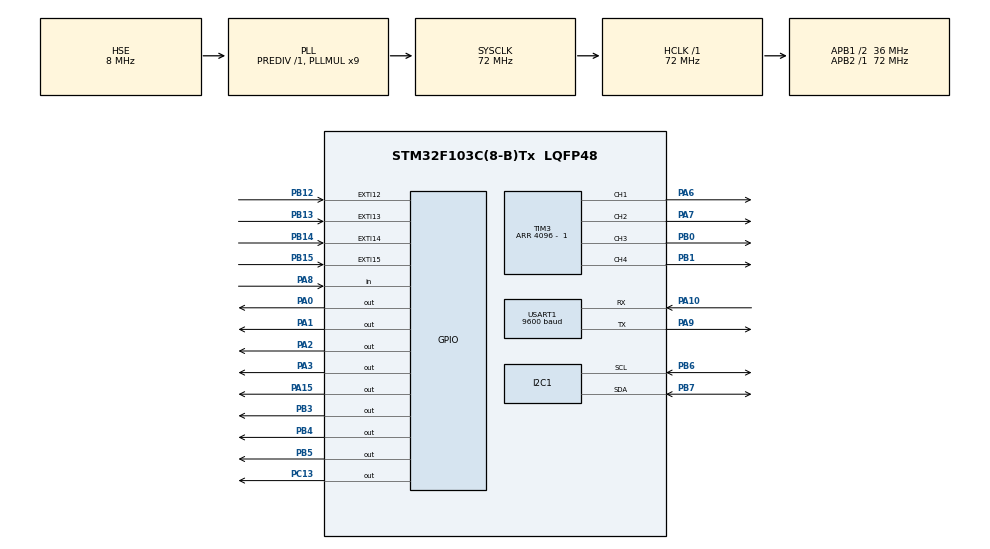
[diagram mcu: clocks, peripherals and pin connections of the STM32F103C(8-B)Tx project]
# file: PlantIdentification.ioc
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Mcu.Family=STM32F1
Mcu.Name=STM32F103C(8-B)Tx
Mcu.Package=LQFP48
NVIC.EXTI15_10_IRQn=true\:0\:0\:true\:true\:true\:1\:true\:true\:true
NVIC.PriorityGroup=NVIC_PRIORITYGROUP_4
NVIC.TIM2_IRQn=true\:0\:0\:false\:true\:true\:3\:true\:true\:true
NVIC.TIM4_IRQn=true\:0\:0\:false\:true\:true\:2\:true\:true\:true
PA0-WKUP.Signal=GPIO_Output
PA1.Signal=GPIO_Output
PA10.Mode=Asynchronous
PA10.Signal=USART1_RX
PA13.Mode=Serial_Wire
PA13.Signal=SYS_JTMS-SWDIO
PA14.Mode=Serial_Wire
PA14.Signal=SYS_JTCK-SWCLK
PA15.Signal=GPIO_Output
PA2.Signal=GPIO_Output
PA3.Signal=GPIO_Output
PA6.Signal=S_TIM3_CH1
PA7.Signal=S_TIM3_CH2
PA8.GPIO_PuPd=GPIO_PULLDOWN
PA8.Signal=GPIO_Input
PA9.Mode=Asynchronous
PA9.Signal=USART1_TX
PB0.Signal=S_TIM3_CH3
PB1.Signal=S_TIM3_CH4
PB12.GPIO_ModeDefaultEXTI=GPIO_MODE_IT_RISING
PB12.GPIO_PuPd=GPIO_PULLDOWN
PB12.Signal=GPXTI12
PB13.GPIO_ModeDefaultEXTI=GPIO_MODE_IT_RISING
PB13.GPIO_PuPd=GPIO_PULLDOWN
PB13.Signal=GPXTI13
PB14.GPIO_ModeDefaultEXTI=GPIO_MODE_IT_RISING
PB14.GPIO_PuPd=GPIO_PULLDOWN
PB14.Signal=GPXTI14
PB15.GPIO_ModeDefaultEXTI=GPIO_MODE_IT_RISING
PB15.GPIO_PuPd=GPIO_PULLDOWN
PB15.Signal=GPXTI15
PB3.Signal=GPIO_Output
PB4.Signal=GPIO_Output
PB5.Signal=GPIO_Output
PB6.Mode=I2C
PB6.Signal=I2C1_SCL
PB7.Mode=I2C
PB7.Signal=I2C1_SDA
PC13-TAMPER-RTC.Signal=GPIO_Output
PC14-OSC32_IN.Mode=LSE-External-Oscillator
PC14-OSC32_IN.Signal=RCC_OSC32_IN
PC15-OSC32_OUT.Mode=LSE-External-Oscillator
PC15-OSC32_OUT.Signal=RCC_OSC32_OUT
PD0-OSC_IN.Mode=HSE-External-Oscillator
PD0-OSC_IN.Signal=RCC_OSC_IN
PD1-OSC_OUT.Mode=HSE-External-Oscillator
PD1-OSC_OUT.Signal=RCC_OSC_OUT
ProjectManager.HeapSize=0x200
ProjectManager.StackSize=0x400
ProjectManager.TargetToolchain=STM32CubeIDE
RCC.AHBFreq_Value=72000000
RCC.APB1CLKDivider=RCC_HCLK_DIV2
RCC.APB1Freq_Value=36000000
RCC.APB1TimFreq_Value=72000000
RCC.APB2Freq_Value=72000000
RCC.APB2TimFreq_Value=72000000
RCC.HCLKFreq_Value=72000000
RCC.PLLMUL=RCC_PLL_MUL9
RCC.PLLSourceVirtual=RCC_PLLSOURCE_HSE
RCC.SYSCLKFreq_VALUE=72000000
RCC.SYSCLKSource=RCC_SYSCLKSOURCE_PLLCLK
RCC.USBFreq_Value=72000000
SH.S_TIM3_CH1.0=TIM3_CH1,PWM Generation1 CH1
SH.S_TIM3_CH2.0=TIM3_CH2,PWM Generation2 CH2
SH.S_TIM3_CH3.0=TIM3_CH3,PWM Generation3 CH3
SH.S_TIM3_CH4.0=TIM3_CH4,PWM Generation4 CH4
TIM2.Period=2500 - 1
TIM2.Prescaler=7200 - 1
TIM3.Channel-PWM\ Generation1\ CH1=TIM_CHANNEL_1
TIM3.Channel-PWM\ Generation2\ CH2=TIM_CHANNEL_2
TIM3.Channel-PWM\ Generation3\ CH3=TIM_CHANNEL_3
TIM3.Channel-PWM\ Generation4\ CH4=TIM_CHANNEL_4
TIM3.Period=4096 -  1
TIM4.Period=100-1
TIM4.Prescaler=7200 - 1
USART1.BaudRate=9600
USART1.VirtualMode=VM_ASYNC
VP_TIM1_VS_ClockSourceINT.Mode=Internal
VP_TIM2_VS_ClockSourceINT.Mode=Internal
VP_TIM4_VS_ClockSourceINT.Mode=Internal
board=custom

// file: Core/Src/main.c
/* USER CODE BEGIN Header */
/**
  ******************************************************************************
  * @file           : main.c
  * @brief          : Main program body
  ******************************************************************************
  * @attention
  *
  * Copyright (c) 2023 STMicroelectronics.
  * All rights reserved.
  *
  * This software is licensed under terms that can be found in the LICENSE file
  * in the root directory of this software component.
  * If no LICENSE file comes with this software, it is provided AS-IS.
  *
  ******************************************************************************
  */
/* USER CODE END Header */
#include "main.h"

/* USER CODE BEGIN Includes */
#include "Directions.h"
#include "stdio.h"
/* USER CODE END Includes */

I2C_HandleTypeDef hi2c1;

TIM_HandleTypeDef htim1;
TIM_HandleTypeDef htim2;
TIM_HandleTypeDef htim3;
TIM_HandleTypeDef htim4;

UART_HandleTypeDef huart1;

/* USER CODE BEGIN PV */

/* IMU Adresses */
uint8_t IMU_ADDRESS = 0b11010000; //0xD0
uint8_t MAG_ADDRESS = 0x1A;

/* Variables de IMU6050 Acelerometro */
uint8_t accel_raw_data[6];

float accel_x;
float accel_y;
float accel_z;

/* Variables de IMU6050 Giroscopio */

uint8_t gyro_raw_data[6];

float gyro_x;
float gyro_y;
float gyro_z;

float GyroMean[5] = {};
float gyro_mean;

float GyroValuesx = 0;
float GyroValuesy = 0;
float GyroValuesz = 0;

float Gyro_X_calibration = 0;
float Gyro_Y_calibration = 0;
float Gyro_Z_calibration = 0;

/*Angulos*/
float yawangle = 0;
float yawangle_new;
float prev_yaw = 0;
float yaw_reference = -90;
float filteredYaw;

uint8_t state = 0;

volatile uint8_t pulses_rf, pulses_lf, pulses_rb, pulses_lb;

float pulsesperturn = 20;

float rpm_rf, rpm_lf, rpm_rb, rpm_lb;

float current_tick_rf, current_tick_lf, current_tick_rb, current_tick_lb;

float pid_output_lf, pid_output_rf, pid_output_lb, pid_output_rb;

float pwm_rf,pwm_lf, pwm_rb, pwm_lb;

float distance_rf,distance_lf,distance_rb,distance_lb, distance_average;

float samplingTime = 250;

/*Array For Commands*/
char Commands[3];

/*Transmission array*/
char rpmdata[200] = {0};

/* Magnetometer variables*/
uint8_t array[2]={0x01, 0x1D};
uint8_t array2[6];
int16_t MagX,MagY,MagZ;
float YawMag, angulo2;
float x_center =  2624.1;/* Valor de x_center de MATLAB */;
float y_center = 2561.8/* Valor de y_center de MATLAB */;
float z_center = 210.8500/* Valor de z_center de MATLAB */;
float radio_promedio = 153.39167/* Valor del radio promedio calculado en MATLAB */;
float x_norm, y_norm, z_norm;
float distancia;

// Variables para almacenar los máximos y mínimos de la calibración
char datos[20];

uint8_t count = 0;
uint32_t time_counter = 1;

char DataTransmit[100];

uint8_t vel = 0;

/* USER CODE END PV */

void SystemClock_Config(void);
static void MX_GPIO_Init(void);
static void MX_I2C1_Init(void);
static void MX_TIM3_Init(void);
static void MX_USART1_UART_Init(void);
static void MX_TIM4_Init(void);
static void MX_TIM2_Init(void);
static void MX_TIM1_Init(void);
static void MX_NVIC_Init(void);

/* USER CODE BEGIN 0 */
void MPU_init(void){
	/*IMU 60050 configuration*/
	uint8_t check, data;

	/*WHO_AM_I register, returns 0x58 if connected*/
	HAL_I2C_Mem_Read(&hi2c1, IMU_ADDRESS, 0x75, 1, &check, 1, 100);

	if(check == 104){
		/*PWR_MGMT_1 register. Write 0 for normal use*/
		data = 0;
		HAL_I2C_Mem_Write(&hi2c1, IMU_ADDRESS, 0x6B, 1, &data, 1, 100);

		/*SMPRT_DIV register*/
		data = 0x07;
		HAL_I2C_Mem_Write(&hi2c1, IMU_ADDRESS, 0x19, 1, &data, 1, 100);

		/*Acceleration Register configuration*/
		HAL_I2C_Mem_Read(&hi2c1, IMU_ADDRESS, 0x1C, 1, &data, 1, 100);

		uint8_t precission_selector = 0;
		/*
		 * 0 for +- 2g
		 * 1 for +- 4g
		 * 2 for +- 8g
		 * 3 for +- 16g
		 */
		data = (data & ~(0b11<<3));
		data = (data | (precission_selector << 3));

		HAL_I2C_Mem_Write(&hi2c1, IMU_ADDRESS, 0x1C, 1, &data, 1, 100);

		/*Gyro Register configuration*/
		HAL_I2C_Mem_Read(&hi2c1, IMU_ADDRESS, 0x1B, 1, &data, 1, 100);

		uint8_t precission_selector_gyro = 0;
		/*
		 * 0 for +- 250 deg/s
		 * 1 for +- 500 deg/s
		 * 2 for +- 1000 deg/s
		 * 3 for +- 2000 deg/s
		 */
		data = (data & ~(0b11<<3));
		data = (data | (precission_selector_gyro << 3));

		HAL_I2C_Mem_Write(&hi2c1, IMU_ADDRESS, 0x1B, 1,&data, 1, 100);

	}

}

void MPU_Read_accel(void){

	/*
	 * 0x3B ACCEL_XOUT_H
	 * 0x3C ACCEL_XOUT_L
	 * 0x3D ACCEL_YOUT_H
	 * 0x3E ACCEL_YOUT_L
	 * 0x3F ACCEL_ZOUT_H
	 * 0x40 ACCEL_ZOUT_L
	 * */

	/*Read registers in order*/
	HAL_I2C_Mem_Read(&hi2c1, IMU_ADDRESS, 0x3B, 1, accel_raw_data, 6, 1000);

	/*Precission value in g's
	 * change if value in MPU_init changes
	 * 2
	 * 4
	 * 8
	 * 16
	 * */
	 float g_precission = 2;

	 accel_x = (float)(((int16_t)(accel_raw_data[0] << 8 | accel_raw_data[1])) * g_precission/32768);
	 accel_y = (float)(((int16_t)(accel_raw_data[2] << 8 | accel_raw_data[3])) * g_precission/32768);
	 accel_z = (float)(((int16_t)(accel_raw_data[4] << 8 | accel_raw_data[5])) * g_precission/32768);

	 /*Conversion from g's to m/s^2*/
	 accel_x = accel_x * 9.81;
	 accel_y = accel_y * 9.81;
	 accel_z = accel_z * 9.81;
	}

void MPU_Read_gyro(void){

	/*
	 * 0x43 ACCEL_XOUT_H
	 * 0x44 ACCEL_XOUT_L
	 * 0x45 ACCEL_YOUT_H
	 * 0x46 ACCEL_YOUT_L
	 * 0x47 ACCEL_ZOUT_H
	 * 0x48 ACCEL_ZOUT_L
	 * */

	if(count < 5){

		/*Read registers in order*/
		HAL_I2C_Mem_Read(&hi2c1, IMU_ADDRESS, 0x43, 1, gyro_raw_data, 6, 1000);

		/*Precission value in degs/s
		 * change if value in MPU_init changes
		 * 250
		 * 500
		 * 1000
		 * 2000
		 * */
		float gyro_Precission = 250;

		 gyro_x = (float)(((int16_t)(gyro_raw_data[0] << 8 | gyro_raw_data[1])) * gyro_Precission/32768);
		 gyro_y = (float)(((int16_t)(gyro_raw_data[2] << 8 | gyro_raw_data[3])) * gyro_Precission/32768);
		 gyro_z = (float)(((int16_t)(gyro_raw_data[4] << 8 | gyro_raw_data[5])) * gyro_Precission/32768);

		 /*Gyro values adjusted with calibration values*/
		 gyro_x += Gyro_X_calibration;
		 gyro_y += Gyro_Y_calibration;
		 gyro_z += Gyro_Z_calibration;

		 GyroMean[count] = gyro_z;
		 count++;
	}

	if(count == 5){
		/*Moving average of 5*/
		gyro_mean = (GyroMean[0]+GyroMean[1]+GyroMean[2]+GyroMean[3]+GyroMean[4])/5;
		count = 0;
	}
}

void Gyro_calibration(void){

	uint16_t counter = 0;
	uint32_t StartTime_cal = HAL_GetTick();
	uint32_t ElapsedTime_cal = 0;

	/*Calibrate value for 9 seconds*/
	while(ElapsedTime_cal < 9000){

		MPU_Read_gyro();
		GyroValuesx += gyro_x;
		GyroValuesy += gyro_y;
		GyroValuesz += gyro_z;

		counter++;

		uint32_t CurrentTime_cal = HAL_GetTick();
		ElapsedTime_cal = CurrentTime_cal - StartTime_cal;
	}

	/*Calibration values, average of gyros values*/
	Gyro_X_calibration = -1 * GyroValuesx/counter;
	Gyro_Y_calibration = -1 * GyroValuesy/counter;
	Gyro_Z_calibration = -1 * GyroValuesz/counter;

}

void MPU_GetYaw(uint8_t elapsed){
	uint8_t alfa = 0.98;

	yawangle_new = prev_yaw + gyro_z * elapsed/1000;

	yawangle = (1-alfa) * prev_yaw + (alfa) * yawangle_new;

	prev_yaw = yawangle_new;

	if(yawangle <= -360){
		yawangle = 0;
	}
	if(yawangle > 360){
		yawangle = 0;
	}
	if(prev_yaw <= -360){
		prev_yaw = 0;
	}
	if(prev_yaw > 360){
		prev_yaw = 0;
	}
	if(yawangle_new <= -360){
		yawangle_new = 0;
	}
	if(yawangle_new > 360){
		yawangle_new = 0;
	}

	//filteredYaw = alfa*(filteredYaw + gyro_z * elapsed/1000) + (1-alfa)*YawMag;
}
/* USER CODE END 0 */

int main(void)
{

  /* MCU Configuration--------------------------------------------------------*/

  /* Reset of all peripherals, Initializes the Flash interface and the Systick. */
  HAL_Init();

  /* Configure the system clock */
  SystemClock_Config();

  /* Initialize all configured peripherals */
  MX_GPIO_Init();
  MX_I2C1_Init();
  MX_TIM3_Init();
  MX_USART1_UART_Init();
  MX_TIM4_Init();
  MX_TIM2_Init();
  MX_TIM1_Init();

  /* Initialize interrupts */
  MX_NVIC_Init();
  /* USER CODE BEGIN 2 */

  HAL_StatusTypeDef ret = HAL_I2C_IsDeviceReady(&hi2c1, IMU_ADDRESS, 10, 100);
    /*Check if QMC5883 is connected*/
    HAL_StatusTypeDef ready = HAL_I2C_IsDeviceReady(&hi2c1, MAG_ADDRESS, 10, 1000);

    if(ret == HAL_OK /*&& ready == HAL_OK*/){
  	  HAL_GPIO_WritePin(GPIOC, GPIO_PIN_13, 0);
  	  char transmission_buffer[17];
  	  uint8_t transmission_size = sprintf(transmission_buffer,"Device connected \n");

  	  HAL_UART_Transmit(&huart1,&transmission_buffer,transmission_size, 500);
    }
    else{
  	  HAL_GPIO_WritePin(GPIOC, GPIO_PIN_13, 1);
    }

    MPU_init();

    Gyro_calibration();

  HAL_TIM_Base_Start_IT(&htim4);
  HAL_TIM_Base_Start_IT(&htim2);
  HAL_TIM_PWM_Start(&htim3, TIM_CHANNEL_1);
  HAL_TIM_PWM_Start(&htim3, TIM_CHANNEL_2);
  HAL_TIM_PWM_Start(&htim3, TIM_CHANNEL_3);
  HAL_TIM_PWM_Start(&htim3, TIM_CHANNEL_4);

  uint32_t millis, elapsedTime, millis2;

  /* USER CODE END 2 */

  /* Infinite loop */
  while (1)
  {

    /* USER CODE BEGIN 3 */

	  HAL_UART_Receive(&huart1, &Commands, 3, 100);

	  if(state == 1){
		  if(elapsedTime > 2000){

			  Forward();
			  //RightTurn();
			  pwm_lf = 3000;
			  pwm_lb = 3000;
			  pwm_rb = 3000;
			  pwm_rf = 3000;

			  __HAL_TIM_SET_COMPARE(&htim3, TIM_CHANNEL_1, pwm_lf);
			  __HAL_TIM_SET_COMPARE(&htim3, TIM_CHANNEL_2, pwm_rf);
			  __HAL_TIM_SET_COMPARE(&htim3, TIM_CHANNEL_3, pwm_lb);
			  __HAL_TIM_SET_COMPARE(&htim3, TIM_CHANNEL_4, pwm_rb);

			  vel = 1;
		  }
		  if(elapsedTime > 4000 && elapsedTime < 23000){
			  Forward();
			  //RightTurn();
			  pwm_lf = 4095;
			  pwm_lb = 4095;
			  pwm_rb = 4095;
			  pwm_rf = 4095;

			  __HAL_TIM_SET_COMPARE(&htim3, TIM_CHANNEL_1, pwm_lf);
			  __HAL_TIM_SET_COMPARE(&htim3, TIM_CHANNEL_2, pwm_rf);
			  __HAL_TIM_SET_COMPARE(&htim3, TIM_CHANNEL_3, pwm_lb);
			  __HAL_TIM_SET_COMPARE(&htim3, TIM_CHANNEL_4, pwm_rb);

			  vel = 2;
		  }
/*
		  if(elapsedTime > 10000 && elapsedTime < 14000){
			  LeftTurn();
			  pwm_lf = 3800;
			  pwm_lb = 3800;
			  pwm_rb = 3800;
			  pwm_rf = 3800;

			  __HAL_TIM_SET_COMPARE(&htim3, TIM_CHANNEL_1, pwm_lf);
			  __HAL_TIM_SET_COMPARE(&htim3, TIM_CHANNEL_2, pwm_rf);
			  __HAL_TIM_SET_COMPARE(&htim3, TIM_CHANNEL_3, pwm_lb);
			  __HAL_TIM_SET_COMPARE(&htim3, TIM_CHANNEL_4, pwm_rb);

			  vel = 3;
		  }
*/

	  }

	  millis2 = HAL_GetTick();
	  elapsedTime = millis2 - millis;

	  if(state == 0){
		  if(Commands[0] == 'S'){
			  millis = HAL_GetTick();
			  elapsedTime = 0;
			  state++;
		  }
	  }

	  if(Commands[0] == 'E'){
		  state = 0;

		  pwm_rf = 0;
		  pwm_lf = 0;
		  pwm_rb = 0;
		  pwm_lb = 0;
		  Stop();
	  }

		uint8_t DataBuf = sprintf(DataTransmit,"%u,%.2f,%.2f,%.2f,%.2f,%.2f,%.2f,%.2f,%.2f,%.2f\n",vel,pwm_lf,rpm_lf,pwm_rf,rpm_rf,pwm_lb,rpm_lb,pwm_rb,rpm_rb,yawangle);
		HAL_UART_Transmit(&huart1, &DataTransmit, DataBuf, 100);

  }
  /* USER CODE END 3 */
}

void SystemClock_Config(void)
{
  RCC_OscInitTypeDef RCC_OscInitStruct = {0};
  RCC_ClkInitTypeDef RCC_ClkInitStruct = {0};

  /** Initializes the RCC Oscillators according to the specified parameters
  * in the RCC_OscInitTypeDef structure.
  */
  RCC_OscInitStruct.OscillatorType = RCC_OSCILLATORTYPE_HSE;
  RCC_OscInitStruct.HSEState = RCC_HSE_ON;
  RCC_OscInitStruct.HSEPredivValue = RCC_HSE_PREDIV_DIV1;
  RCC_OscInitStruct.HSIState = RCC_HSI_ON;
  RCC_OscInitStruct.PLL.PLLState = RCC_PLL_ON;
  RCC_OscInitStruct.PLL.PLLSource = RCC_PLLSOURCE_HSE;
  RCC_OscInitStruct.PLL.PLLMUL = RCC_PLL_MUL9;
  if (HAL_RCC_OscConfig(&RCC_OscInitStruct) != HAL_OK)
  {
    Error_Handler();
  }

  /** Initializes the CPU, AHB and APB buses clocks
  */
  RCC_ClkInitStruct.ClockType = RCC_CLOCKTYPE_HCLK|RCC_CLOCKTYPE_SYSCLK
                              |RCC_CLOCKTYPE_PCLK1|RCC_CLOCKTYPE_PCLK2;
  RCC_ClkInitStruct.SYSCLKSource = RCC_SYSCLKSOURCE_PLLCLK;
  RCC_ClkInitStruct.AHBCLKDivider = RCC_SYSCLK_DIV1;
  RCC_ClkInitStruct.APB1CLKDivider = RCC_HCLK_DIV2;
  RCC_ClkInitStruct.APB2CLKDivider = RCC_HCLK_DIV1;

  if (HAL_RCC_ClockConfig(&RCC_ClkInitStruct, FLASH_LATENCY_2) != HAL_OK)
  {
    Error_Handler();
  }
}

/**
  * @brief NVIC Configuration.
  * @retval None
  */
static void MX_NVIC_Init(void)
{
  /* EXTI15_10_IRQn interrupt configuration */
  HAL_NVIC_SetPriority(EXTI15_10_IRQn, 0, 0);
  HAL_NVIC_EnableIRQ(EXTI15_10_IRQn);
  /* TIM4_IRQn interrupt configuration */
  HAL_NVIC_SetPriority(TIM4_IRQn, 0, 0);
  HAL_NVIC_EnableIRQ(TIM4_IRQn);
  /* TIM2_IRQn interrupt configuration */
  HAL_NVIC_SetPriority(TIM2_IRQn, 0, 0);
  HAL_NVIC_EnableIRQ(TIM2_IRQn);
}

static void MX_I2C1_Init(void)
{

  hi2c1.Instance = I2C1;
  hi2c1.Init.ClockSpeed = 100000;
  hi2c1.Init.DutyCycle = I2C_DUTYCYCLE_2;
  hi2c1.Init.OwnAddress1 = 0;
  hi2c1.Init.AddressingMode = I2C_ADDRESSINGMODE_7BIT;
  hi2c1.Init.DualAddressMode = I2C_DUALADDRESS_DISABLE;
  hi2c1.Init.OwnAddress2 = 0;
  hi2c1.Init.GeneralCallMode = I2C_GENERALCALL_DISABLE;
  hi2c1.Init.NoStretchMode = I2C_NOSTRETCH_DISABLE;
  if (HAL_I2C_Init(&hi2c1) != HAL_OK)
  {
    Error_Handler();
  }

}

static void MX_TIM1_Init(void)
{

  TIM_ClockConfigTypeDef sClockSourceConfig = {0};
  TIM_MasterConfigTypeDef sMasterConfig = {0};

  htim1.Instance = TIM1;
  htim1.Init.Prescaler = 0;
  htim1.Init.CounterMode = TIM_COUNTERMODE_UP;
  htim1.Init.Period = 65535;
  htim1.Init.ClockDivision = TIM_CLOCKDIVISION_DIV1;
  htim1.Init.RepetitionCounter = 0;
  htim1.Init.AutoReloadPreload = TIM_AUTORELOAD_PRELOAD_DISABLE;
  if (HAL_TIM_Base_Init(&htim1) != HAL_OK)
  {
    Error_Handler();
  }
  sClockSourceConfig.ClockSource = TIM_CLOCKSOURCE_INTERNAL;
  if (HAL_TIM_ConfigClockSource(&htim1, &sClockSourceConfig) != HAL_OK)
  {
    Error_Handler();
  }
  sMasterConfig.MasterOutputTrigger = TIM_TRGO_RESET;
  sMasterConfig.MasterSlaveMode = TIM_MASTERSLAVEMODE_DISABLE;
  if (HAL_TIMEx_MasterConfigSynchronization(&htim1, &sMasterConfig) != HAL_OK)
  {
    Error_Handler();
  }

}

static void MX_TIM2_Init(void)
{

  TIM_ClockConfigTypeDef sClockSourceConfig = {0};
  TIM_MasterConfigTypeDef sMasterConfig = {0};

  htim2.Instance = TIM2;
  htim2.Init.Prescaler = 7200 - 1;
  htim2.Init.CounterMode = TIM_COUNTERMODE_UP;
  htim2.Init.Period = 2500 - 1;
  htim2.Init.ClockDivision = TIM_CLOCKDIVISION_DIV1;
  htim2.Init.AutoReloadPreload = TIM_AUTORELOAD_PRELOAD_DISABLE;
  if (HAL_TIM_Base_Init(&htim2) != HAL_OK)
  {
    Error_Handler();
  }
  sClockSourceConfig.ClockSource = TIM_CLOCKSOURCE_INTERNAL;
  if (HAL_TIM_ConfigClockSource(&htim2, &sClockSourceConfig) != HAL_OK)
  {
    Error_Handler();
  }
  sMasterConfig.MasterOutputTrigger = TIM_TRGO_RESET;
  sMasterConfig.MasterSlaveMode = TIM_MASTERSLAVEMODE_DISABLE;
  if (HAL_TIMEx_MasterConfigSynchronization(&htim2, &sMasterConfig) != HAL_OK)
  {
    Error_Handler();
  }

}

static void MX_TIM3_Init(void)
{

  TIM_MasterConfigTypeDef sMasterConfig = {0};
  TIM_OC_InitTypeDef sConfigOC = {0};

  htim3.Instance = TIM3;
  htim3.Init.Prescaler = 0;
  htim3.Init.CounterMode = TIM_COUNTERMODE_UP;
  htim3.Init.Period = 4096 - 1;
  htim3.Init.ClockDivision = TIM_CLOCKDIVISION_DIV1;
  htim3.Init.AutoReloadPreload = TIM_AUTORELOAD_PRELOAD_DISABLE;
  if (HAL_TIM_PWM_Init(&htim3) != HAL_OK)
  {
    Error_Handler();
  }
  sMasterConfig.MasterOutputTrigger = TIM_TRGO_RESET;
  sMasterConfig.MasterSlaveMode = TIM_MASTERSLAVEMODE_DISABLE;
  if (HAL_TIMEx_MasterConfigSynchronization(&htim3, &sMasterConfig) != HAL_OK)
  {
    Error_Handler();
  }
  sConfigOC.OCMode = TIM_OCMODE_PWM1;
  sConfigOC.Pulse = 0;
  sConfigOC.OCPolarity = TIM_OCPOLARITY_HIGH;
  sConfigOC.OCFastMode = TIM_OCFAST_DISABLE;
  if (HAL_TIM_PWM_ConfigChannel(&htim3, &sConfigOC, TIM_CHANNEL_1) != HAL_OK)
  {
    Error_Handler();
  }
  if (HAL_TIM_PWM_ConfigChannel(&htim3, &sConfigOC, TIM_CHANNEL_2) != HAL_OK)
  {
    Error_Handler();
  }
  if (HAL_TIM_PWM_ConfigChannel(&htim3, &sConfigOC, TIM_CHANNEL_3) != HAL_OK)
  {
    Error_Handler();
  }
  if (HAL_TIM_PWM_ConfigChannel(&htim3, &sConfigOC, TIM_CHANNEL_4) != HAL_OK)
  {
    Error_Handler();
  }
  HAL_TIM_MspPostInit(&htim3);

}

static void MX_TIM4_Init(void)
{

  TIM_ClockConfigTypeDef sClockSourceConfig = {0};
  TIM_MasterConfigTypeDef sMasterConfig = {0};

  htim4.Instance = TIM4;
  htim4.Init.Prescaler = 7200 - 1;
  htim4.Init.CounterMode = TIM_COUNTERMODE_UP;
  htim4.Init.Period = 100-1;
  htim4.Init.ClockDivision = TIM_CLOCKDIVISION_DIV1;
  htim4.Init.AutoReloadPreload = TIM_AUTORELOAD_PRELOAD_DISABLE;
  if (HAL_TIM_Base_Init(&htim4) != HAL_OK)
  {
    Error_Handler();
  }
  sClockSourceConfig.ClockSource = TIM_CLOCKSOURCE_INTERNAL;
  if (HAL_TIM_ConfigClockSource(&htim4, &sClockSourceConfig) != HAL_OK)
  {
    Error_Handler();
  }
  sMasterConfig.MasterOutputTrigger = TIM_TRGO_RESET;
  sMasterConfig.MasterSlaveMode = TIM_MASTERSLAVEMODE_DISABLE;
  if (HAL_TIMEx_MasterConfigSynchronization(&htim4, &sMasterConfig) != HAL_OK)
  {
    Error_Handler();
  }

}

static void MX_USART1_UART_Init(void)
{

  huart1.Instance = USART1;
  huart1.Init.BaudRate = 9600;
  huart1.Init.WordLength = UART_WORDLENGTH_8B;
  huart1.Init.StopBits = UART_STOPBITS_1;
  huart1.Init.Parity = UART_PARITY_NONE;
  huart1.Init.Mode = UART_MODE_TX_RX;
  huart1.Init.HwFlowCtl = UART_HWCONTROL_NONE;
  huart1.Init.OverSampling = UART_OVERSAMPLING_16;
  if (HAL_UART_Init(&huart1) != HAL_OK)
  {
    Error_Handler();
  }

}

static void MX_GPIO_Init(void)
{
  GPIO_InitTypeDef GPIO_InitStruct = {0};

  /* GPIO Ports Clock Enable */
  __HAL_RCC_GPIOC_CLK_ENABLE();
  __HAL_RCC_GPIOD_CLK_ENABLE();
  __HAL_RCC_GPIOA_CLK_ENABLE();
  __HAL_RCC_GPIOB_CLK_ENABLE();

  /*Configure GPIO pin Output Level */
  HAL_GPIO_WritePin(GPIOC, GPIO_PIN_13, GPIO_PIN_RESET);

  /*Configure GPIO pin Output Level */
  HAL_GPIO_WritePin(GPIOA, GPIO_PIN_0|GPIO_PIN_1|GPIO_PIN_2|GPIO_PIN_3
                          |GPIO_PIN_15, GPIO_PIN_RESET);

  /*Configure GPIO pin Output Level */
  HAL_GPIO_WritePin(GPIOB, GPIO_PIN_3|GPIO_PIN_4|GPIO_PIN_5, GPIO_PIN_RESET);

  /*Configure GPIO pin : PC13 */
  GPIO_InitStruct.Pin = GPIO_PIN_13;
  GPIO_InitStruct.Mode = GPIO_MODE_OUTPUT_PP;
  GPIO_InitStruct.Pull = GPIO_NOPULL;
  GPIO_InitStruct.Speed = GPIO_SPEED_FREQ_LOW;
  HAL_GPIO_Init(GPIOC, &GPIO_InitStruct);

  /*Configure GPIO pins : PA0 PA1 PA2 PA3
                           PA15 */
  GPIO_InitStruct.Pin = GPIO_PIN_0|GPIO_PIN_1|GPIO_PIN_2|GPIO_PIN_3
                          |GPIO_PIN_15;
  GPIO_InitStruct.Mode = GPIO_MODE_OUTPUT_PP;
  GPIO_InitStruct.Pull = GPIO_NOPULL;
  GPIO_InitStruct.Speed = GPIO_SPEED_FREQ_LOW;
  HAL_GPIO_Init(GPIOA, &GPIO_InitStruct);

  /*Configure GPIO pins : PB12 PB13 PB14 PB15 */
  GPIO_InitStruct.Pin = GPIO_PIN_12|GPIO_PIN_13|GPIO_PIN_14|GPIO_PIN_15;
  GPIO_InitStruct.Mode = GPIO_MODE_IT_RISING;
  GPIO_InitStruct.Pull = GPIO_PULLDOWN;
  HAL_GPIO_Init(GPIOB, &GPIO_InitStruct);

  /*Configure GPIO pin : PA8 */
  GPIO_InitStruct.Pin = GPIO_PIN_8;
  GPIO_InitStruct.Mode = GPIO_MODE_INPUT;
  GPIO_InitStruct.Pull = GPIO_PULLDOWN;
  HAL_GPIO_Init(GPIOA, &GPIO_InitStruct);

  /*Configure GPIO pins : PB3 PB4 PB5 */
  GPIO_InitStruct.Pin = GPIO_PIN_3|GPIO_PIN_4|GPIO_PIN_5;
  GPIO_InitStruct.Mode = GPIO_MODE_OUTPUT_PP;
  GPIO_InitStruct.Pull = GPIO_NOPULL;
  GPIO_InitStruct.Speed = GPIO_SPEED_FREQ_LOW;
  HAL_GPIO_Init(GPIOB, &GPIO_InitStruct);

}

/* USER CODE BEGIN 4 */

void HAL_TIM_PeriodElapsedCallback(TIM_HandleTypeDef *htim){

	if(htim -> Instance  == TIM2){
/*
		pid_output_lf = PIDpwm_Compute(&pidMotor_lf, rpm_lf);
		pid_output_rf = PIDpwm_Compute(&pidMotor_rf, rpm_rf);
		pid_output_lb = PIDpwm_Compute(&pidMotor_lb, rpm_lb);
		pid_output_rb = PIDpwm_Compute(&pidMotor_rb, rpm_rb);
*/

		rpm_rf =  (current_tick_rf * 1000 ) / (pulsesperturn * samplingTime);
	    rpm_lf =  (current_tick_lf * 1000 ) / (pulsesperturn * samplingTime);
	    rpm_rb =  (current_tick_rb * 1000 ) / (pulsesperturn * samplingTime);
	    rpm_lb =  (current_tick_lb * 1000 ) / (pulsesperturn * samplingTime);

		current_tick_rf = 0;
		current_tick_lf = 0;
		current_tick_rb = 0;
		current_tick_lb = 0;
	}
	if(htim -> Instance == TIM4){

		if(count == 4){
			/*Integrate  every 50ms*/
			MPU_GetYaw(50);
			//count = 0;
		}

		/*Readd gyro value every 10ms*/
		MPU_Read_gyro();
	}
}

void HAL_GPIO_EXTI_Callback(uint16_t GPIO_Pin)

/*
 * @pin 15 Right front wheel
 * @pin 14 Left front wheel
 * @pin 13 Right back wheel
 * @pin 12 Left back wheel
 */
{
  /* Prevent unused argument(s) compilation warning */
  if(GPIO_Pin == GPIO_PIN_13){
	  //Right front wheel

	  pulses_rb++;
	  current_tick_rb++;
  }
  if(GPIO_Pin == GPIO_PIN_15){
	  //Left front wheel

	  pulses_rf++;
	  current_tick_rf++;
  }
  if(GPIO_Pin == GPIO_PIN_12){
	  //Right back wheel
	  pulses_lb++;
	  current_tick_lb++;
  }
  if(GPIO_Pin == GPIO_PIN_14){
	  //Left back wheel
	  pulses_lf++;
	  current_tick_lf++;
  }

}
/* USER CODE END 4 */

void Error_Handler(void)
{
  __disable_irq();
  while (1)
  {
  }
}
